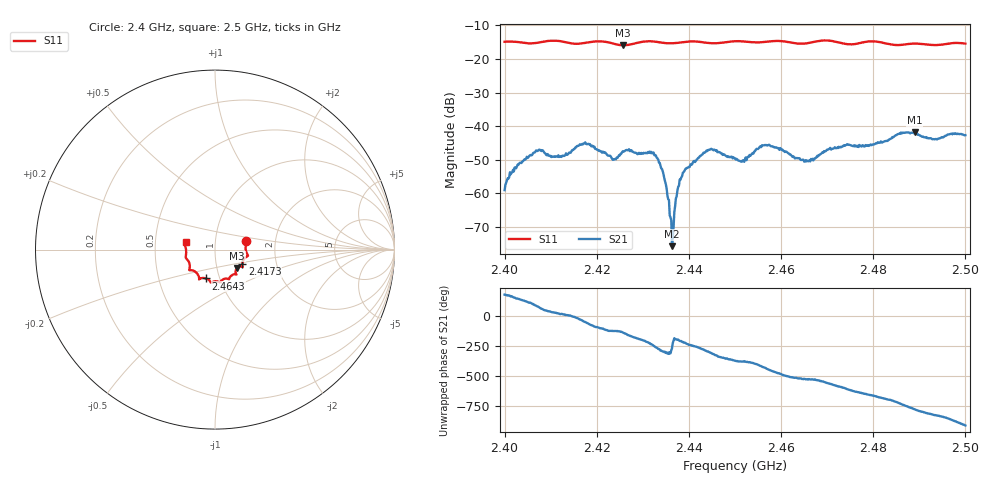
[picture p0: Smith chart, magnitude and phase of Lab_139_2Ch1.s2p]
# Hz S RI R 50
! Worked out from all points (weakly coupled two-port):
!   601 points, 2.4 GHz to 2.5 GHz, reference 50 ohm
!   highest |S21| = -41.87 dB at 2.489 GHz (marker M1); lowest = -75.8 dB at 2.4363 GHz (marker M2)
!   lowest |S11| = -15.9 dB at 2.4257 GHz (marker M3), VSWR 1.38, Z = 62.5 - j13 ohm
!   |S11| at or under -10 dB: start of sweep to end of sweep
!   S12 and S22 are empty: the file has one direction only
!   S11 on the Smith chart (normalised r, x): 2.4 GHz: 1.41, +0.14; 2.4173 GHz: 1.34, -0.23; 2.4643 GHz: 0.86, -0.29; 2.5 GHz: 0.72, +0.06
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2.4e9  0.1733 0.0493  -0.00111 8.38e-05  0 0  0 0
2.402667e9  0.1753 0.0376  -0.00199 0.0015  0 0  0 0
2.406667e9  0.1721 -0.006  0.000277 0.00412  0 0  0 0
2.412333e9  0.179 -0.0377  0.00331 0.00102  0 0  0 0
2.416667e9  0.1528 -0.0741  0.00434 -0.00302  0 0  0 0
2.417333e9  0.152 -0.0818  0.00365 -0.00417  0 0  0 0
2.423667e9  0.1401 -0.0938  -0.00186 -0.00257  0 0  0 0
2.425667e9  0.1229 -0.1017  -0.00314 -0.00282  0 0  0 0
2.433333e9  0.1134 -0.1372  0.000225 0.00316  0 0  0 0
2.434667e9  0.1046 -0.1374  0.000856 0.00142  0 0  0 0
2.436333e9  0.0918 -0.1443  -8.96e-06 0.000162  0 0  0 0
2.436833e9  0.0882 -0.1473  -0.000525 4.5e-05  0 0  0 0
2.437667e9  0.0837 -0.1525  -0.00119 0.000365  0 0  0 0
2.439167e9  0.0801 -0.1604  -0.00163 0.00155  0 0  0 0
2.444667e9  0.0587 -0.1613  0.00267 0.00364  0 0  0 0
2.45e9  0.0288 -0.1814  0.00324 -0.000669  0 0  0 0
2.457e9  -0.0139 -0.1801  0.000866 -0.00507  0 0  0 0
2.464333e9  -0.0499 -0.1608  -0.00292 -0.00113  0 0  0 0
2.466667e9  -0.0762 -0.1593  -0.00305 -0.000718  0 0  0 0
2.483333e9  -0.1406 -0.0896  0.00564 0.00267  0 0  0 0
2.489e9  -0.1631 -0.0451  0.0047 -0.00655  0 0  0 0
2.5e9  -0.1636 0.0426  -0.00724 0.00103  0 0  0 0
